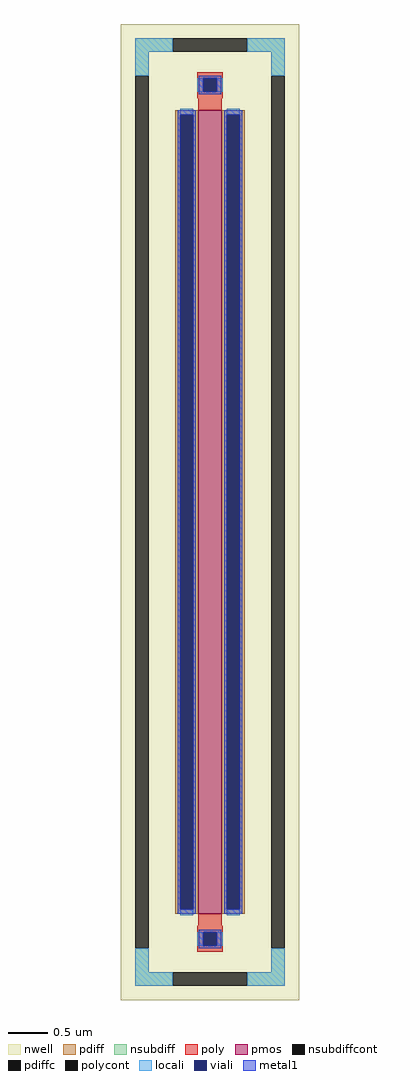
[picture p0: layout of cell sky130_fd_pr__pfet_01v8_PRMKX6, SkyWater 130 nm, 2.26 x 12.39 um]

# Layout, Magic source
magic
tech sky130A
magscale 1 2
<< nwell >>
rect -226 -1239 226 1239
<< pmos >>
rect -30 -1020 30 1020
<< pdiff >>
rect -88 1008 -30 1020
rect -88 -1008 -76 1008
rect -42 -1008 -30 1008
rect -88 -1020 -30 -1008
rect 30 1008 88 1020
rect 30 -1008 42 1008
rect 76 -1008 88 1008
rect 30 -1020 88 -1008
<< pdiffc >>
rect -76 -1008 -42 1008
rect 42 -1008 76 1008
<< nsubdiff >>
rect -190 1169 -94 1203
rect 94 1169 190 1203
rect -190 1107 -156 1169
rect 156 1107 190 1169
rect -190 -1169 -156 -1107
rect 156 -1169 190 -1107
rect -190 -1203 -94 -1169
rect 94 -1203 190 -1169
<< nsubdiffcont >>
rect -94 1169 94 1203
rect -190 -1107 -156 1107
rect 156 -1107 190 1107
rect -94 -1203 94 -1169
<< poly >>
rect -33 1101 33 1117
rect -33 1067 -17 1101
rect 17 1067 33 1101
rect -33 1051 33 1067
rect -30 1020 30 1051
rect -30 -1051 30 -1020
rect -33 -1067 33 -1051
rect -33 -1101 -17 -1067
rect 17 -1101 33 -1067
rect -33 -1117 33 -1101
<< polycont >>
rect -17 1067 17 1101
rect -17 -1101 17 -1067
<< locali >>
rect -190 1169 -94 1203
rect 94 1169 190 1203
rect -190 1107 -156 1169
rect 156 1107 190 1169
rect -33 1067 -17 1101
rect 17 1067 33 1101
rect -76 1008 -42 1024
rect -76 -1024 -42 -1008
rect 42 1008 76 1024
rect 42 -1024 76 -1008
rect -33 -1101 -17 -1067
rect 17 -1101 33 -1067
rect -190 -1169 -156 -1107
rect 156 -1169 190 -1107
rect -190 -1203 -94 -1169
rect 94 -1203 190 -1169
<< viali >>
rect -17 1067 17 1101
rect -76 -1008 -42 1008
rect 42 -1008 76 1008
rect -17 -1101 17 -1067
<< metal1 >>
rect -29 1101 29 1107
rect -29 1067 -17 1101
rect 17 1067 29 1101
rect -29 1061 29 1067
rect -82 1008 -36 1020
rect -82 -1008 -76 1008
rect -42 -1008 -36 1008
rect -82 -1020 -36 -1008
rect 36 1008 82 1020
rect 36 -1008 42 1008
rect 76 -1008 82 1008
rect 36 -1020 82 -1008
rect -29 -1067 29 -1061
rect -29 -1101 -17 -1067
rect 17 -1101 29 -1067
rect -29 -1107 29 -1101
<< properties >>
string FIXED_BBOX -173 -1186 173 1186
string gencell sky130_fd_pr__pfet_01v8
string library sky130
string parameters w 10.2 l 0.3 m 1 nf 1 diffcov 100 polycov 100 guard 1 glc 1 grc 1 gtc 1 gbc 1 tbcov 100 rlcov 100 topc 1 botc 1 poverlap 0 doverlap 1 lmin 0.15 wmin 0.42 compatible {sky130_fd_pr__pfet_01v8  sky130_fd_pr__pfet_01v8_lvt sky130_fd_pr__pfet_01v8_hvt  sky130_fd_pr__pfet_g5v0d10v5} full_metal 1 viasrc 100 viadrn 100 viagate 100 viagb 0 viagr 0 viagl 0 viagt 0
<< end >>
